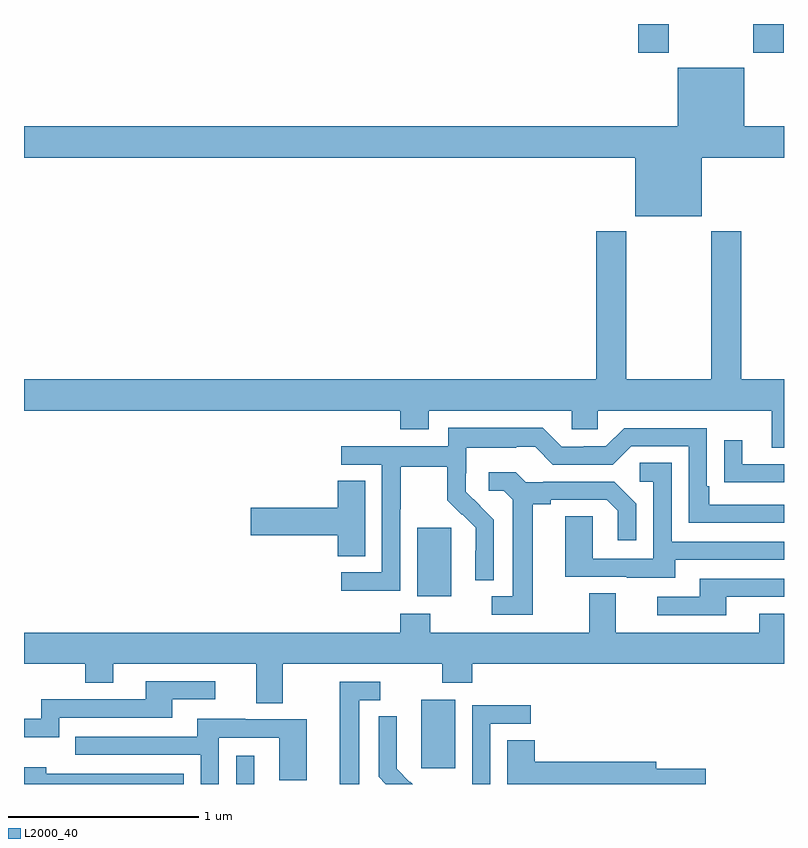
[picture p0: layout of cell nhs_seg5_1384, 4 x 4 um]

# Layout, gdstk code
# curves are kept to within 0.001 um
import gdstk
lib = gdstk.Library(unit=1e-6, precision=1e-09)
def R(c, l, rs):  # rectangles x0, y0, x1, y1
    for r in rs: c.add(gdstk.rectangle(r[:2], r[2:], *l))
def P(c, l, *ps):  # polygons
    for p in ps: c.add(gdstk.Polygon(p, *l))
L2000_40 = (2000, 40)

nhs_seg5_1384 = lib.new_cell('nhs_seg5_1384')
R(nhs_seg5_1384, L2000_40, [(196.116,850.799,196.213,850.948), (197.09,850.881,197.269,851.242), (197.069,851.786,197.248,852.147), (198.233,854.649,198.393,854.799), (198.838,854.649,198.998,854.799)])
P(nhs_seg5_1384, L2000_40, [(198.568,854.096),(199,854.096),(199,854.26),(198.79,854.26),(198.79,854.569),(198.44,854.569),(198.44,854.26),(195,854.26),(195,854.096),(198.218,854.096),(198.218,853.787),(198.568,853.787)],
  [(199,852.928),(198.776,852.928),(198.776,853.708),(198.616,853.708),(198.616,852.928),(198.171,852.928),(198.171,853.708),(198.011,853.708),(198.011,852.928),(195,852.928),(195,852.764),(196.979,852.764),(196.979,852.665),(197.131,852.665),(197.131,852.764),(197.883,852.764),(197.883,852.666),(198.021,852.666),(198.021,852.764),(198.935,852.764),(198.935,852.57),(199,852.57)],
  [(196.98,852.244),(196.983,852.244),(196.983,852.468),(197.227,852.468),(197.227,852.293),(197.304,852.216),(197.307,852.219),(197.378,852.149),(197.378,852.026),(197.376,852.026),(197.376,851.872),(197.472,851.872),(197.472,852.19),(197.326,852.338),(197.326,852.435),(197.328,852.435),(197.328,852.569),(197.591,852.569),(197.591,852.573),(197.691,852.573),(197.784,852.48),(198.099,852.48),(198.195,852.576),(198.498,852.576),(198.498,852.174),(199,852.174),(199,852.27),(198.607,852.27),(198.607,852.367),(198.594,852.367),(198.594,852.672),(198.159,852.672),(198.063,852.576),(197.945,852.576),(197.945,852.573),(197.829,852.573),(197.729,852.673),(197.232,852.673),(197.232,852.576),(196.671,852.576),(196.671,852.48),(196.884,852.48),(196.884,851.913),(196.671,851.913),(196.671,851.815),(196.98,851.815)],
  [(199,852.483),(198.781,852.483),(198.781,852.607),(198.685,852.607),(198.685,852.388),(198.787,852.388),(198.787,852.387),(199,852.387)],
  [(198.427,851.979),(199,851.979),(199,852.075),(198.408,852.075),(198.408,852.491),(198.24,852.491),(198.24,852.39),(198.312,852.39),(198.312,851.985),(197.994,851.985),(197.994,852.209),(197.849,852.209),(197.849,851.889),(198.173,851.889),(198.173,851.885),(198.427,851.885)],
  [(197.677,852.272),(197.773,852.272),(197.773,852.294),(198.068,852.294),(198.125,852.237),(198.125,852.081),(198.222,852.081),(198.222,852.274),(198.106,852.39),(197.734,852.39),(197.734,852.387),(197.64,852.387),(197.588,852.439),(197.445,852.439),(197.445,852.342),(197.526,852.342),(197.573,852.295),(197.573,851.787),(197.463,851.787),(197.463,851.691),(197.677,851.691)],
  [(196.795,852.395),(196.652,852.395),(196.652,852.254),(196.194,852.254),(196.194,852.107),(196.652,852.107),(196.652,851.998),(196.795,851.998)],
  [(198.697,851.784),(199,851.784),(199,851.88),(198.557,851.88),(198.557,851.784),(198.333,851.784),(198.333,851.688),(198.697,851.688)],
  [(196.363,851.432),(197.2,851.432),(197.2,851.333),(197.36,851.333),(197.36,851.432),(199,851.432),(199,851.695),(198.869,851.695),(198.869,851.596),(198.115,851.596),(198.115,851.804),(197.975,851.804),(197.975,851.596),(197.139,851.596),(197.139,851.695),(196.979,851.695),(196.979,851.596),(195,851.596),(195,851.432),(195.322,851.432),(195.322,851.333),(195.469,851.333),(195.469,851.432),(196.223,851.432),(196.223,851.224),(196.363,851.224)],
  [(195.186,851.148),(195.781,851.148),(195.781,851.244),(196.006,851.244),(196.006,851.34),(195.641,851.34),(195.641,851.244),(195.09,851.244),(195.09,851.142),(195,851.142),(195,851.045),(195.186,851.045)],
  [(196.765,851.241),(196.876,851.241),(196.876,851.337),(196.661,851.337),(196.661,850.799),(196.765,850.799)],
  [(197.454,851.115),(197.668,851.115),(197.668,851.214),(197.358,851.214),(197.358,850.799),(197.454,850.799)],
  [(197.034,850.812),(197.031,850.809),(196.961,850.88),(196.961,851.002),(196.962,851.002),(196.962,851.156),(196.866,851.156),(196.866,850.838),(196.905,850.799),(197.047,850.799)],
  [(196.026,851.043),(196.344,851.043),(196.344,850.819),(196.489,850.819),(196.489,851.139),(196.165,851.139),(196.165,851.143),(195.911,851.143),(195.911,851.049),(195.271,851.049),(195.271,850.953),(195.93,850.953),(195.93,850.799),(196.026,850.799)],
  [(198.589,850.88),(198.328,850.88),(198.328,850.916),(197.687,850.916),(197.687,851.03),(197.543,851.03),(197.543,850.799),(198.589,850.799)],
  [(195.84,850.854),(195.116,850.854),(195.116,850.888),(195,850.888),(195,850.799),(195.84,850.799)])

lib.write_gds('nhs_seg5_1384.gds')
